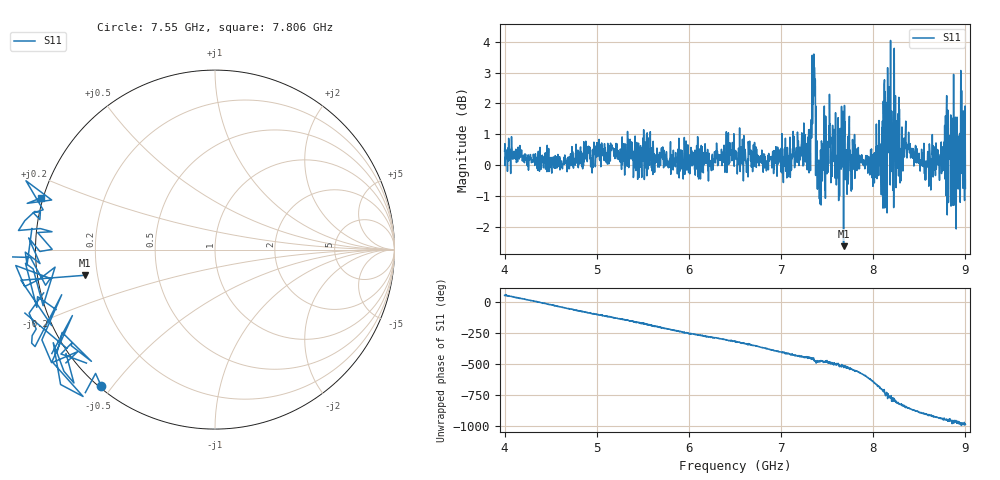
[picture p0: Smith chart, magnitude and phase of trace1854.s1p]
! Created with skrf 1.8.0 (http://scikit-rf.org).
# Hz S RI R 50.0
!freq ReS11 ImS11
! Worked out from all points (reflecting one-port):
!   1601 points, 4 GHz to 9 GHz, reference 50 ohm
!   lowest |S11| = -2.6 dB at 7.678 GHz (marker M1), VSWR 6.64, Z = 7.6 - j4.78 ohm
!   phase of S11 starts at 50 deg and turns -1038 deg over the sweep
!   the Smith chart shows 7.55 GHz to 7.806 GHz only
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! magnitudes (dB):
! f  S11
! 4 GHz  0.5
! 4.625 GHz  -0.1
! 5.25 GHz  0.2
! 5.875 GHz  -0.3
! 6.5 GHz  0.4
! 7.125 GHz  0.5
! 7.294 GHz  0.5
! 7.309 GHz  0.2
! 7.347 GHz  2.4
! 7.362 GHz  3.2
! 7.409 GHz  0.2
! 7.509 GHz  -0.2
! 7.609 GHz  0.3
! 7.65 GHz  0.8
! 7.678 GHz  -2.6
! 7.703 GHz  0.4
! 7.75 GHz  0.5
! 8.006 GHz  0.2
! 8.178 GHz  2.5
! 8.197 GHz  0.5
! 8.253 GHz  0.9
! 8.312 GHz  1.2
! 8.375 GHz  0.7
! 8.578 GHz  0.1
! 8.834 GHz  1.0
! 8.919 GHz  -0.4
! 8.972 GHz  0.7
! 9 GHz  -0.8
